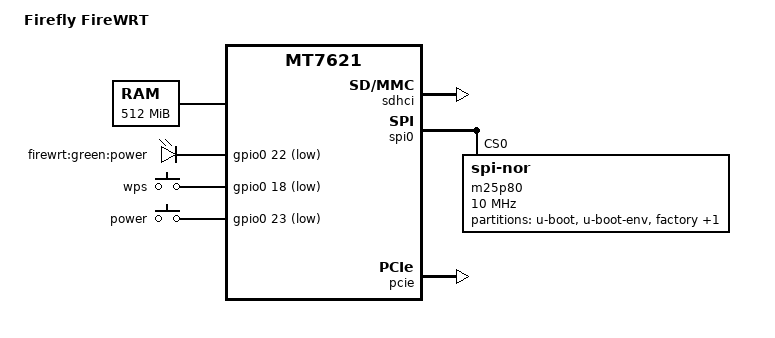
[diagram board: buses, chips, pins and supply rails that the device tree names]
/dts-v1/;

#include "mt7621.dtsi"

#include <dt-bindings/gpio/gpio.h>
#include <dt-bindings/input/input.h>

/ {
	compatible = "firefly,firewrt", "mediatek,mt7621-soc";
	model = "Firefly FireWRT";

	memory@0 {
		device_type = "memory";
		reg = <0x0 0x1c000000>, <0x20000000 0x4000000>;
	};

	chosen {
		bootargs = "console=ttyS0,57600";
	};

	gpio-leds {
		compatible = "gpio-leds";

		power {
			label = "firewrt:green:power";
			gpios = <&gpio0 22 GPIO_ACTIVE_LOW>;
		};
	};

	gpio-keys-polled {
		compatible = "gpio-keys-polled";
		#address-cells = <1>;
		#size-cells = <0>;
		poll-interval = <20>;

		wps {
			label = "wps";
			gpios = <&gpio0 18 GPIO_ACTIVE_LOW>;
			linux,code = <KEY_WPS_BUTTON>;
		};

		power {
			label = "power";
			gpios = <&gpio0 23 GPIO_ACTIVE_LOW>;
			linux,code = <KEY_POWER>;
		};
	};
};

&sdhci {
	status = "okay";
};

&spi0 {
	status = "okay";

	m25p80@0 {
		#address-cells = <1>;
		#size-cells = <1>;
		compatible = "jedec,spi-nor";
		reg = <0>;
		spi-max-frequency = <10000000>;
		m25p,chunked-io = <32>;

		partition@0 {
			label = "u-boot";
			reg = <0x0 0x30000>;
			read-only;
		};

		partition@30000 {
			label = "u-boot-env";
			reg = <0x30000 0x10000>;
			read-only;
		};

		factory: partition@40000 {
			label = "factory";
			reg = <0x40000 0x10000>;
			read-only;
		};

		partition@50000 {
			label = "firmware";
			reg = <0x50000 0xfb0000>;
		};
	};
};

&pcie {
	status = "okay";

	pcie0 {
		mt76@0,0 {
			reg = <0x0000 0 0 0 0>;
			device_type = "pci";
			mediatek,mtd-eeprom = <&factory 0x8000>;
			ieee80211-freq-limit = <5000000 6000000>;
		};
	};

	pcie1 {
		mt76@1,0 {
			reg = <0x0000 0 0 0 0>;
			device_type = "pci";
			mediatek,mtd-eeprom = <&factory 0x0000>;
			ieee80211-freq-limit = <2400000 2500000>;
		};
	};
};

&ethernet {
	mtd-mac-address = <&factory 0xe000>;
};

&pinctrl {
	state_default: pinctrl0 {
		gpio {
			ralink,group = "wdt", "rgmii2";
			ralink,function = "gpio";
		};
	};
};
